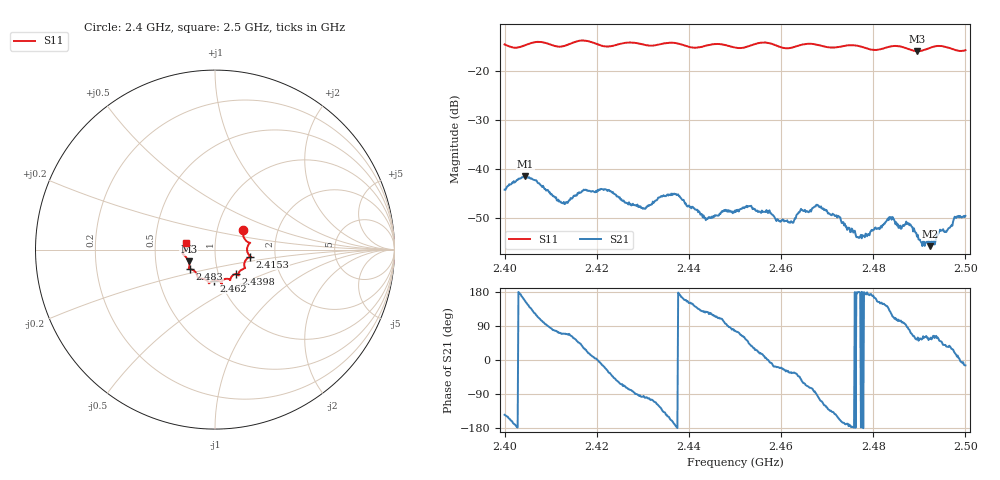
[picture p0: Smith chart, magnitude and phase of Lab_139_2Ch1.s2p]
# Hz S RI R 50
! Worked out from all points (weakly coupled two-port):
!   601 points, 2.4 GHz to 2.5 GHz, reference 50 ohm
!   highest |S21| = -41.48 dB at 2.4045 GHz (marker M1); lowest = -55.8 dB at 2.4923 GHz (marker M2)
!   lowest |S11| = -15.9 dB at 2.4895 GHz (marker M3), VSWR 1.38, Z = 37 - j4.99 ohm
!   |S11| at or under -10 dB: start of sweep to end of sweep
!   S12 and S22 are empty: the file has one direction only
!   S11 on the Smith chart (normalised r, x): 2.4 GHz: 1.33, +0.29; 2.4153 GHz: 1.48, -0.12; 2.4398 GHz: 1.21, -0.34; 2.462 GHz: 0.93, -0.33; 2.483 GHz: 0.74, -0.17; 2.5 GHz: 0.72, +0.06
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2.4e9  0.1551 0.1066  -0.00503 -0.00357  0 0  0 0
2.4045e9  0.18 0.0436  -0.00763 0.00358  0 0  0 0
2.412667e9  0.1798 -0.0103  0.00155 0.00419  0 0  0 0
2.415333e9  0.1965 -0.0389  0.00309 0.00443  0 0  0 0
2.416667e9  0.202 -0.0429  0.00448 0.00371  0 0  0 0
2.422167e9  0.1668 -0.0663  0.00551 -0.00269  0 0  0 0
2.430167e9  0.1515 -0.1105  -0.000332 -0.00397  0 0  0 0
2.433333e9  0.131 -0.1336  -0.00252 -0.00445  0 0  0 0
2.437167e9  0.1316 -0.143  -0.00555 -0.000521  0 0  0 0
2.439833e9  0.1153 -0.1365  -0.00373 0.00187  0 0  0 0
2.443833e9  0.0862 -0.1621  -0.00187 0.00251  0 0  0 0
2.45e9  0.0647 -0.1627  0.000815 0.00369  0 0  0 0
2.453e9  0.0381 -0.1767  0.00303 0.00287  0 0  0 0
2.462e9  -0.00511 -0.1731  0.00236 -0.00156  0 0  0 0
2.466667e9  -0.0344 -0.1877  0.00101 -0.00378  0 0  0 0
2.472333e9  -0.0734 -0.1606  -0.00294 -0.00158  0 0  0 0
2.477e9  -0.0961 -0.1531  -0.00198 2.45e-05  0 0  0 0
2.483e9  -0.1377 -0.1095  -0.0024 0.00184  0 0  0 0
2.483333e9  -0.1401 -0.1093  -0.00216 0.00209  0 0  0 0
2.4895e9  -0.1462 -0.0658  0.0012 0.00165  0 0  0 0
2.492333e9  -0.1709 -0.0319  0.000919 0.00135  0 0  0 0
2.5e9  -0.1596 0.0392  0.00323 -0.000812  0 0  0 0
